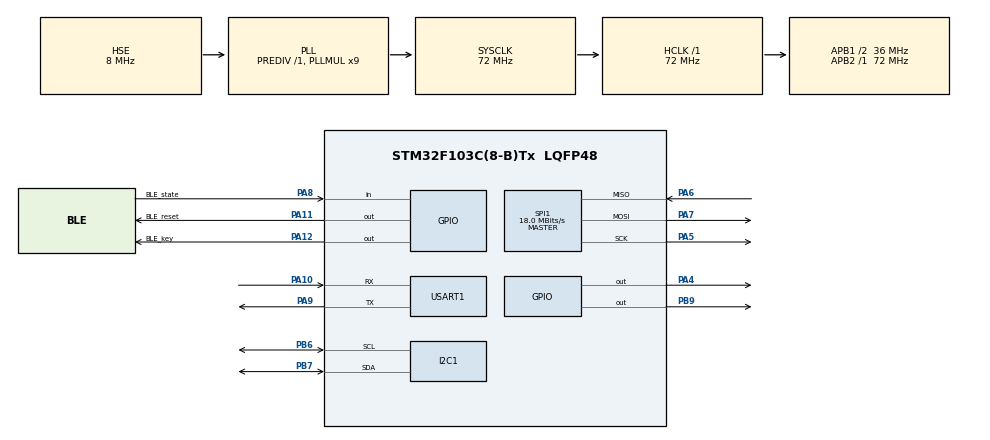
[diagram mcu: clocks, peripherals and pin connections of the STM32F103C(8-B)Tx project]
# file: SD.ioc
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FREERTOS.HEAP_NUMBER=4
FREERTOS.INCLUDE_vTaskDelete=1
FREERTOS.Tasks01=defaultTask,0,128,StartDefaultTask,Default,NULL,Dynamic,NULL,NULL;lcd,0,128,lcd_print,Default,NULL,Dynamic,NULL,NULL;accel,0,256,accel_read,Default,NULL,Dynamic,NULL,NULL;SD_wr,0,256,SD_write,Default,NULL,Dynamic,NULL,NULL;SD_rd,0,128,SD_read,Default,NULL,Dynamic,NULL,NULL
FREERTOS.configGENERATE_RUN_TIME_STATS=0
FREERTOS.configTOTAL_HEAP_SIZE=4200
FREERTOS.configUSE_STATS_FORMATTING_FUNCTIONS=0
FREERTOS.configUSE_TRACE_FACILITY=0
I2C1.I2C_Mode=I2C_Fast
Mcu.Family=STM32F1
Mcu.Name=STM32F103C(8-B)Tx
Mcu.Package=LQFP48
NVIC.PriorityGroup=NVIC_PRIORITYGROUP_4
NVIC.TIM1_UP_IRQn=true\:15\:0\:false\:false\:true\:false\:false\:true
NVIC.TIM2_IRQn=true\:5\:0\:false\:false\:true\:true\:true\:true
NVIC.TimeBase=TIM1_UP_IRQn
NVIC.TimeBaseIP=TIM1
NVIC.USART1_IRQn=true\:5\:0\:false\:false\:true\:true\:true\:true
PA10.Mode=Asynchronous
PA10.Signal=USART1_RX
PA11.GPIO_Label=BLE_reset
PA11.GPIO_ModeDefaultOutputPP=GPIO_MODE_OUTPUT_OD
PA11.Signal=GPIO_Output
PA12.GPIO_Label=BLE_key
PA12.Signal=GPIO_Output
PA13.Mode=Serial_Wire
PA13.Signal=SYS_JTMS-SWDIO
PA14.Mode=Serial_Wire
PA14.Signal=SYS_JTCK-SWCLK
PA4.GPIO_Speed=GPIO_SPEED_FREQ_MEDIUM
PA4.Signal=GPIO_Output
PA5.Mode=Full_Duplex_Master
PA5.Signal=SPI1_SCK
PA6.GPIO_PuPd=GPIO_PULLUP
PA6.Mode=Full_Duplex_Master
PA6.Signal=SPI1_MISO
PA7.Mode=Full_Duplex_Master
PA7.Signal=SPI1_MOSI
PA8.GPIO_Label=BLE_state
PA8.GPIO_PuPd=GPIO_PULLUP
PA8.Signal=GPIO_Input
PA9.Mode=Asynchronous
PA9.Signal=USART1_TX
PB6.GPIO_Pu=GPIO_PULLUP
PB6.Mode=I2C
PB6.Signal=I2C1_SCL
PB7.GPIO_Pu=GPIO_PULLUP
PB7.Mode=I2C
PB7.Signal=I2C1_SDA
PB9.Signal=GPIO_Output
PD0-OSC_IN.Mode=HSE-External-Oscillator
PD0-OSC_IN.Signal=RCC_OSC_IN
PD1-OSC_OUT.Mode=HSE-External-Oscillator
PD1-OSC_OUT.Signal=RCC_OSC_OUT
ProjectManager.HeapSize=0x200
ProjectManager.StackSize=0x400
ProjectManager.TargetToolchain=MDK-ARM V5
RCC.AHBFreq_Value=72000000
RCC.APB1CLKDivider=RCC_HCLK_DIV2
RCC.APB1Freq_Value=36000000
RCC.APB1TimFreq_Value=72000000
RCC.APB2Freq_Value=72000000
RCC.APB2TimFreq_Value=72000000
RCC.HCLKFreq_Value=72000000
RCC.PLLMUL=RCC_PLL_MUL9
RCC.PLLSourceVirtual=RCC_PLLSOURCE_HSE
RCC.SYSCLKFreq_VALUE=72000000
RCC.SYSCLKSource=RCC_SYSCLKSOURCE_PLLCLK
RCC.USBFreq_Value=48000000
RCC.USBPrescaler=RCC_USBCLKSOURCE_PLL_DIV1_5
RTC.AutoPrediv=RTC_AUTO_1_SECOND
RTC.OutPut=RTC_OUTPUTSOURCE_SECOND
SPI1.BaudRatePrescaler=SPI_BAUDRATEPRESCALER_4
SPI1.CLKPolarity=SPI_POLARITY_LOW
SPI1.CalculateBaudRate=18.0 MBits/s
SPI1.Direction=SPI_DIRECTION_2LINES
SPI1.Mode=SPI_MODE_MASTER
SPI1.VirtualType=VM_MASTER
TIM2.Period=199
TIM2.Prescaler=7199
USART1.VirtualMode=VM_ASYNC
VP_FREERTOS_VS_CMSIS_V1.Mode=CMSIS_V1
VP_RTC_VS_RTC_Activate.Mode=RTC_Enabled
VP_RTC_VS_RTC_Calendar.Mode=RTC_Calendar
VP_SYS_VS_tim1.Mode=TIM1
VP_TIM2_VS_ClockSourceINT.Mode=Internal
board=custom

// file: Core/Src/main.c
/* USER CODE BEGIN Header */
/**
  ******************************************************************************
  * @file           : main.c
  * @brief          : Main program body
  ******************************************************************************
  * @attention
  *
  * <h2><center>&copy; Copyright (c) 2021 STMicroelectronics.
  * All rights reserved.</center></h2>
  *
  * This software component is licensed by ST under Ultimate Liberty license
  * SLA0044, the "License"; You may not use this file except in compliance with
  * the License. You may obtain a copy of the License at:
  *                             www.st.com/SLA0044
  *
  ******************************************************************************
  */
/* USER CODE END Header */
#include "main.h"
#include "cmsis_os.h"
#include "i2c.h"
#include "rtc.h"
#include "spi.h"
#include "tim.h"
#include "usart.h"
#include "gpio.h"

/* USER CODE BEGIN Includes */
#include "../ssd1306/ssd1306.h"
#include "../ssd1306/ssd1306_tests.h"
#include "mpu6050.h"
#include "string.h"
#include "functions.h"
/* USER CODE END Includes */

/* USER CODE BEGIN PV */

//MPU6050_t MPU6050;

//extern accel_t accel[2][1024];
//accel_t accel2[1024];

/* USER CODE END PV */

void SystemClock_Config(void);
void MX_FREERTOS_Init(void);

int main(void)
{

  /* MCU Configuration--------------------------------------------------------*/

  /* Reset of all peripherals, Initializes the Flash interface and the Systick. */
  HAL_Init();

  /* Configure the system clock */
  SystemClock_Config();

  /* Initialize all configured peripherals */
  MX_GPIO_Init();
  MX_SPI1_Init();
  MX_USART1_UART_Init();
  MX_I2C1_Init();
  MX_RTC_Init();
  MX_TIM2_Init();
  /* USER CODE BEGIN 2 */

	system_init();																						//общая инициализация всех устройств в системе. дисплей, акселерометр, sd карта, установка системного времени и тд

	//unixtimetotime(591002410,&DateToUpdate,&sTime);
	//sprintf((char*)bufff,"%d.%d.%d\r\n%d.%d.%d",DateToUpdate.Date,DateToUpdate.Month,DateToUpdate.Year,sTime.Hours,sTime.Minutes,sTime.Seconds);
	//get_FirstBlock();
//char buffer1[SIZE_BLOCK] ="dimaibmail@gmail.com"; //Буфер данных для записи/чтения
//	#define START_BLOCK		0x0000

	//sprintf(bbb,"%lu\r\n",(unsigned long)tmp);
	//HAL_UART_Transmit(&huart1,bbb,strlen(bbb),0x1000);
	//for(uint8_t tt=0;tt<10;tt++) {
		//sprintf(buffer1,"dimaib %d\r\n",tt);
		//SD_Write_Block((uint8_t*)buffer1,START_BLOCK+tt, SIZE_BLOCK); //Запишем блок в буфер
//	}
////	//SD_Write_Block((uint8_t*)buffer1,START_BLOCK); //Запишем блок в буфер
////	uint32_t tmp=HAL_GetTick();
////	for(uint32_t tt=0;tt<10;tt++) {
////		SD_Read_Block(sect,START_BLOCK+tt,SIZE_BLOCK); //Считаем блок из буфера
////		HAL_UART_Transmit(&huart1,sect,SIZE_BLOCK,100);
////		HAL_UART_Transmit(&huart1,(uint8_t*)"\r\n",2,100);
////	}
////	sprintf(buffer1,"%lu\r\n",(unsigned long)(HAL_GetTick()-tmp));
////	HAL_UART_Transmit(&huart1,(uint8_t*)buffer1,strlen(buffer1),100);

  /* USER CODE END 2 */

  /* Call init function for freertos objects (in freertos.c) */
  MX_FREERTOS_Init();
  /* Start scheduler */
  osKernelStart();

  /* We should never get here as control is now taken by the scheduler */
  /* Infinite loop */
  /* USER CODE BEGIN WHILE */

//////

	while (1)
  {
    /* USER CODE END WHILE */

  }
}

void SystemClock_Config(void)
{
  RCC_OscInitTypeDef RCC_OscInitStruct = {0};
  RCC_ClkInitTypeDef RCC_ClkInitStruct = {0};
  RCC_PeriphCLKInitTypeDef PeriphClkInit = {0};

  /** Initializes the RCC Oscillators according to the specified parameters
  * in the RCC_OscInitTypeDef structure.
  */
  RCC_OscInitStruct.OscillatorType = RCC_OSCILLATORTYPE_LSI|RCC_OSCILLATORTYPE_HSE;
  RCC_OscInitStruct.HSEState = RCC_HSE_ON;
  RCC_OscInitStruct.HSEPredivValue = RCC_HSE_PREDIV_DIV1;
  RCC_OscInitStruct.HSIState = RCC_HSI_ON;
  RCC_OscInitStruct.LSIState = RCC_LSI_ON;
  RCC_OscInitStruct.PLL.PLLState = RCC_PLL_ON;
  RCC_OscInitStruct.PLL.PLLSource = RCC_PLLSOURCE_HSE;
  RCC_OscInitStruct.PLL.PLLMUL = RCC_PLL_MUL9;
  if (HAL_RCC_OscConfig(&RCC_OscInitStruct) != HAL_OK)
  {
    Error_Handler();
  }
  /** Initializes the CPU, AHB and APB buses clocks
  */
  RCC_ClkInitStruct.ClockType = RCC_CLOCKTYPE_HCLK|RCC_CLOCKTYPE_SYSCLK
                              |RCC_CLOCKTYPE_PCLK1|RCC_CLOCKTYPE_PCLK2;
  RCC_ClkInitStruct.SYSCLKSource = RCC_SYSCLKSOURCE_PLLCLK;
  RCC_ClkInitStruct.AHBCLKDivider = RCC_SYSCLK_DIV1;
  RCC_ClkInitStruct.APB1CLKDivider = RCC_HCLK_DIV2;
  RCC_ClkInitStruct.APB2CLKDivider = RCC_HCLK_DIV1;

  if (HAL_RCC_ClockConfig(&RCC_ClkInitStruct, FLASH_LATENCY_2) != HAL_OK)
  {
    Error_Handler();
  }
  PeriphClkInit.PeriphClockSelection = RCC_PERIPHCLK_RTC;
  PeriphClkInit.RTCClockSelection = RCC_RTCCLKSOURCE_LSI;
  if (HAL_RCCEx_PeriphCLKConfig(&PeriphClkInit) != HAL_OK)
  {
    Error_Handler();
  }
}

void HAL_TIM_PeriodElapsedCallback(TIM_HandleTypeDef *htim)
{
  if (htim->Instance == TIM1) {
    HAL_IncTick();
  }
}

void Error_Handler(void)
{
  __disable_irq();
  while (1)
  {
  }
}

/************************ (C) COPYRIGHT STMicroelectronics *****END OF FILE****/

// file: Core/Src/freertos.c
/* USER CODE BEGIN Header */
/**
  ******************************************************************************
  * File Name          : freertos.c
  * Description        : Code for freertos applications
  ******************************************************************************
  * @attention
  *
  * <h2><center>&copy; Copyright (c) 2021 STMicroelectronics.
  * All rights reserved.</center></h2>
  *
  * This software component is licensed by ST under Ultimate Liberty license
  * SLA0044, the "License"; You may not use this file except in compliance with
  * the License. You may obtain a copy of the License at:
  *                             www.st.com/SLA0044
  *
  ******************************************************************************
  */
/* USER CODE END Header */

#include "FreeRTOS.h"
#include "task.h"
#include "main.h"
#include "cmsis_os.h"

/* USER CODE BEGIN Includes */
#include "../ssd1306/ssd1306.h"
#include "../ssd1306/ssd1306_tests.h"
#include "mpu6050.h"
#include "usart.h"
#include "rtc.h"
#include "functions.h"
#include "usart.h"
/* USER CODE END Includes */

/* USER CODE BEGIN PTD */
#define SIZE_ARREY				506 						//512+512 (2 блока sd карты) -6 (в каждом втором блоке хранится юникстайм[4]+юникстайм мс[2])
accel_t accel[2][SIZE_ARREY]={0};					//массив для хранения данных с акселерометра

uint8_t	data_ready=0;											//даннфе готовы для записи на флешку

extern uint32_t st_block;
extern uint32_t en_block;
extern uint8_t print_sd_write;						//флаг для вывода символа на дисплей, о записи на флешку

uint8_t buf_write_sd[SIZE_BLOCK]={0};

struct unix_t{											//массив хронящий unix time в момент начала записи
	uint32_t s;
	uint16_t ms;
}	unix_time_start[2];

uint16_t counter=0;									//счетчик для записи данных акселерометра в массив
uint8_t arr_cout=0;									//номер текущего массива для записи
MPU6050_t MPU6050;
extern RTC_TimeTypeDef sTime;
extern RTC_DateTypeDef DateToUpdate;
/* USER CODE END PTD */

osThreadId defaultTaskHandle;
osThreadId lcdHandle;
osThreadId accelHandle;
osThreadId SD_wrHandle;
osThreadId SD_rdHandle;

void StartDefaultTask(void const * argument);
void lcd_print(void const * argument);
void accel_read(void const * argument);
void SD_write(void const * argument);
void SD_read(void const * argument);

void MX_FREERTOS_Init(void); /* (MISRA C 2004 rule 8.1) */

/* GetIdleTaskMemory prototype (linked to static allocation support) */
void vApplicationGetIdleTaskMemory( StaticTask_t **ppxIdleTaskTCBBuffer, StackType_t **ppxIdleTaskStackBuffer, uint32_t *pulIdleTaskStackSize );

/* USER CODE BEGIN GET_IDLE_TASK_MEMORY */
static StaticTask_t xIdleTaskTCBBuffer;
static StackType_t xIdleStack[configMINIMAL_STACK_SIZE];

void vApplicationGetIdleTaskMemory( StaticTask_t **ppxIdleTaskTCBBuffer, StackType_t **ppxIdleTaskStackBuffer, uint32_t *pulIdleTaskStackSize )
{
  *ppxIdleTaskTCBBuffer = &xIdleTaskTCBBuffer;
  *ppxIdleTaskStackBuffer = &xIdleStack[0];
  *pulIdleTaskStackSize = configMINIMAL_STACK_SIZE;
  /* place for user code */
}
/* USER CODE END GET_IDLE_TASK_MEMORY */

void MX_FREERTOS_Init(void) {

  /* Create the thread(s) */
  /* definition and creation of defaultTask */
  osThreadDef(defaultTask, StartDefaultTask, osPriorityNormal, 0, 128);
  defaultTaskHandle = osThreadCreate(osThread(defaultTask), NULL);

  /* definition and creation of lcd */
  osThreadDef(lcd, lcd_print, osPriorityNormal, 0, 128);
  lcdHandle = osThreadCreate(osThread(lcd), NULL);

  /* definition and creation of accel */
  osThreadDef(accel, accel_read, osPriorityNormal, 0, 256);
  accelHandle = osThreadCreate(osThread(accel), NULL);

  /* definition and creation of SD_wr */
  osThreadDef(SD_wr, SD_write, osPriorityNormal, 0, 256);
  SD_wrHandle = osThreadCreate(osThread(SD_wr), NULL);

  /* definition and creation of SD_rd */
  osThreadDef(SD_rd, SD_read, osPriorityNormal, 0, 128);
  SD_rdHandle = osThreadCreate(osThread(SD_rd), NULL);

}

void StartDefaultTask(void const * argument)
{
  /* USER CODE BEGIN StartDefaultTask */
  /* Infinite loop */
  for(;;)
  {
		//tt++;
		if(GPIOA->IDR&(1<<8)) GPIOB->ODR|=(1<<9); else GPIOB->ODR&=~(1<<9);							//если BLE_state pin имеет состояние ноль, то выключить светодиод, иначе включить

		//sprintf(bbf,"dimaib %d\r\n",tt);
		//sprintf(bbf,"AT\r\n",tt);

		//HAL_UART_Transmit(&huart1,(uint8_t*)bbf,strlen(bbf),100);
    osDelay(1);
  }
  /* USER CODE END StartDefaultTask */
}

void lcd_print(void const * argument)
{
  /* USER CODE BEGIN lcd_print */
  /* Infinite loop */
  for(;;)
  {
		ssd1306_printtime();									//вывод времени на дисплей
		//ssd1306_printaccel(accel[arr_cout][counter-1].X,accel[arr_cout][counter-1].Y,accel[arr_cout][counter-1].Z); //тест дисплея и акселерометра
    osDelay(400);
  }
  /* USER CODE END lcd_print */
}

void accel_read(void const * argument)
{
  /* USER CODE BEGIN accel_read */
  /* Infinite loop */
	uint16_t old_s=0;
	uint16_t unixtime_ms=0;
  for(;;)
  {
		HAL_RTC_GetDate(&hrtc,&DateToUpdate,RTC_FORMAT_BIN);
		HAL_RTC_GetTime(&hrtc,&sTime,RTC_FORMAT_BIN);
		unixtime_ms+=26;
		if(old_s!=sTime.Seconds){
			//sprintf(buff,"%dms\r\n",unixtime_ms);
			//HAL_UART_Transmit(&huart1,(uint8_t*)buff,strlen(buff),100);
			old_s=sTime.Seconds;
			unixtime_ms=0;
		}
		MPU6050_Read_Accel(&hi2c1, &MPU6050);																		//чтение значений из акселерометра
		accel[arr_cout][counter].X=MPU6050.Accel_X_RAW;
		accel[arr_cout][counter].Y=MPU6050.Accel_Y_RAW;
		accel[arr_cout][counter].Z=MPU6050.Accel_Z_RAW;

		//sprintf((char*)buff,"%lu.%d, %f, %f, %f\r\n",(unsigned long)get_unixtime(DateToUpdate.Date,DateToUpdate.Month,DateToUpdate.Year,sTime.Hours,sTime.Minutes, sTime.Seconds), unixtime_ms,MPU6050.Accel_X_RAW/10000.0,MPU6050.Accel_Y_RAW/10000.0,MPU6050.Accel_Z_RAW/10000.0);
		//HAL_UART_Transmit(&huart1,buff,strlen((char*)buff),100);
		//CDC_Transmit_FS(buff,strlen((char*)buff));
		counter++;
		if(counter>=SIZE_ARREY){
			counter=0;

			//unix_time_start[arr_cout].s =sTime.Seconds;
			unix_time_start[arr_cout].s=get_unixtime(DateToUpdate.Date,DateToUpdate.Month,DateToUpdate.Year+2000,sTime.Hours,sTime.Minutes,sTime.Seconds);
			unix_time_start[arr_cout].ms=unixtime_ms;
			arr_cout^=(1<<0);
			print_sd_write=1;
			data_ready=1;
		}

		//GPIOB->ODR^=(1<<9);
    osDelay(20);
  }
  /* USER CODE END accel_read */
}

void SD_write(void const * argument)
{
  /* USER CODE BEGIN SD_write */
	uint8_t send_ble_on=1;																							//если 1, то отправка данных по блютусу разрешена, если 0, то запрещена  !!!ДЛЯ ОТЛАДКИ!!!
  /* Infinite loop */

  for(;;)
  {
		if(data_ready){
			data_ready=0;
			//GPIOB->ODR|=(1<<9);
			uint8_t invert_arr_cout=arr_cout^(1<<0);
			for(uint16_t xx=0;xx<SIZE_BLOCK;xx++)buf_write_sd[xx]=0x00;			//очищаем массив
			split_uint32(unix_time_start[invert_arr_cout].s,buf_write_sd);	//вносим в первые 4 байта блока юникс тайм
			buf_write_sd[4]=unix_time_start[invert_arr_cout].ms&0xff;				//вносим в массив 2 байта юникс тайм мс
			buf_write_sd[5]=(unix_time_start[invert_arr_cout].ms>>8)&0xff;	//вносим в массив 2 байта юникс тайм мс
			uint16_t index_arr=6;
			for(uint8_t xx=1;xx<(SIZE_BLOCK/6);xx++){
					buf_write_sd[index_arr]=accel[invert_arr_cout][xx-1].X&0xff;
					buf_write_sd[index_arr+1]=(accel[invert_arr_cout][xx-1].X>>8)&0xff;
					buf_write_sd[index_arr+2]=accel[invert_arr_cout][xx-1].Y&0xff;
					buf_write_sd[index_arr+3]=(accel[invert_arr_cout][xx-1].Y>>8)&0xff;
					buf_write_sd[index_arr+4]=accel[invert_arr_cout][xx-1].Z&0xff;
					buf_write_sd[index_arr+5]=(accel[invert_arr_cout][xx-1].Z>>8)&0xff;
					index_arr+=6;
			}
			en_block++;
			SD_Write_Block(buf_write_sd,en_block, SIZE_BLOCK); 							//Запишем блок в буфер
			if(GPIOA->IDR&(1<<8)&&send_ble_on){															//если блютуз подключился к серверу
				HAL_UART_Transmit(&huart1,(uint8_t*)"AAAA",4,100);						//передадим в блютуз стартовую строку передачи
				HAL_UART_Transmit(&huart1,buf_write_sd,SIZE_BLOCK,100);				//передадим в блютуз первый блок данных с юникс тайм
			}
			for(uint16_t ii=84;ii<508-83;ii+=85){
					index_arr=0;
					for(uint16_t xx=ii;xx<ii+(SIZE_BLOCK/6);xx++){
							buf_write_sd[index_arr]=accel[invert_arr_cout][xx].X&0xff;
							buf_write_sd[index_arr+1]=(accel[invert_arr_cout][xx].X>>8)&0xff;
							buf_write_sd[index_arr+2]=accel[invert_arr_cout][xx].Y&0xff;
							buf_write_sd[index_arr+3]=(accel[invert_arr_cout][xx].Y>>8)&0xff;
							buf_write_sd[index_arr+4]=accel[invert_arr_cout][xx].Z&0xff;
							buf_write_sd[index_arr+5]=(accel[invert_arr_cout][xx].Z>>8)&0xff;
							index_arr+=6;
					}
					en_block++;
					SD_Write_Block(buf_write_sd,en_block, SIZE_BLOCK); 				//Запишем блок в буфер
					if(GPIOA->IDR&(1<<8)&&send_ble_on) HAL_UART_Transmit(&huart1,buf_write_sd,SIZE_BLOCK,100);					//передадим в блютуз блок данных

			}
			if(en_block>15200000) en_block=0;
			set_FirstBlock(st_block,en_block);
			if(GPIOA->IDR&(1<<8)&&send_ble_on) HAL_UART_Transmit(&huart1,(uint8_t*)"ZZZZ",4,100);									//передадим в блютуз конечную строку передачи
		}

			//GPIOB->ODR&=~(1<<9);
		}
    osDelay(10);
  /* USER CODE END SD_write */
}

void SD_read(void const * argument)
{
  /* USER CODE BEGIN SD_read */
  /* Infinite loop */
  for(;;)
  {
    osDelay(100);
  }
  /* USER CODE END SD_read */
}

/************************ (C) COPYRIGHT STMicroelectronics *****END OF FILE****/
